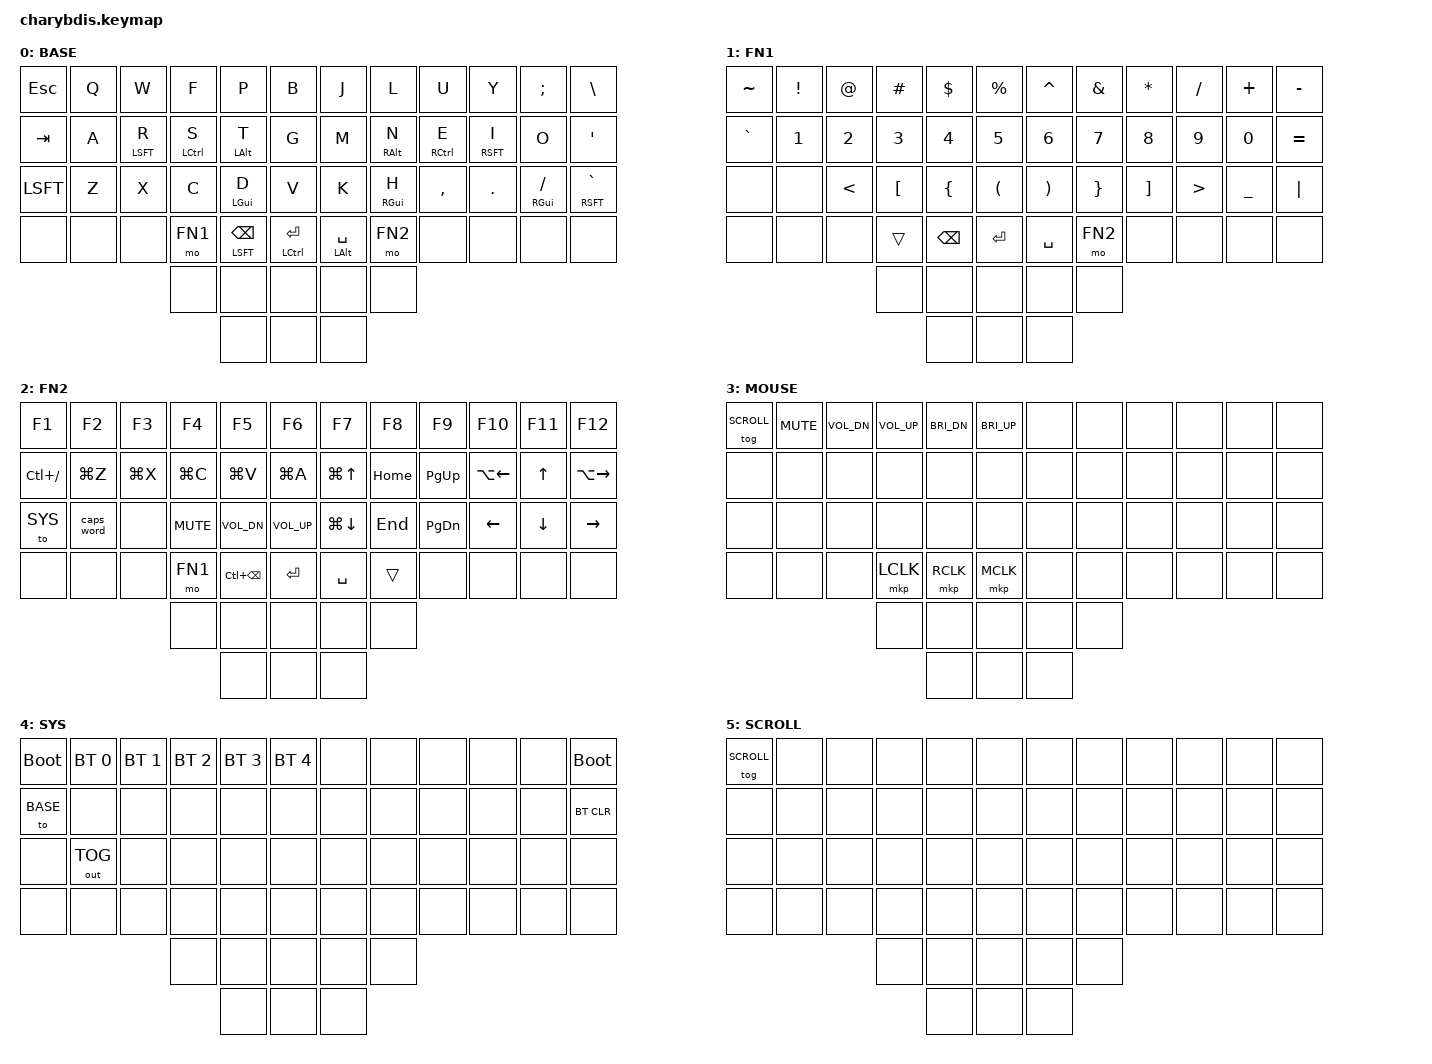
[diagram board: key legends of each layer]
#include <behaviors.dtsi>
#include <dt-bindings/zmk/bt.h>
#include <dt-bindings/zmk/keys.h>
#include <dt-bindings/zmk/mouse.h>
#include <dt-bindings/zmk/outputs.h>

// 4x6 PCB but 3x6 physical (no number row switches)
// Physical rows map to matrix rows 0,1,2. Row 3 = unused. Row 4 = thumbs.
// Key positions:
//  0  1  2  3  4  5        6  7  8  9 10 11    ← physical top row
// 12 13 14 15 16 17       18 19 20 21 22 23    ← physical home row
// 24 25 26 27 28 29       30 31 32 33 34 35    ← physical bottom row
// 36 37 38 39 40 41       42 43 44 45 46 47    ← no switches (row 3)
//             48 49 50    51 52                 ← thumbs
//                53 54    55

#define KEYS_L 0 1 2 3 4 5 12 13 14 15 16 17 24 25 26 27 28 29
#define KEYS_R 6 7 8 9 10 11 18 19 20 21 22 23 30 31 32 33 34 35
#define THUMBS 48 49 50 51 52 53 54 55

#define BASE   0
#define FN1    1
#define FN2    2
#define MOUSE  3
#define SYS    4
#define SCROLL 5

/ {
    behaviors {
        hml: homerow_left {
            compatible = "zmk,behavior-hold-tap";
            #binding-cells = <2>;
            flavor = "balanced";
            tapping-term-ms = <280>;
            quick-tap-ms = <175>;
            require-prior-idle-ms = <500>;
            bindings = <&kp>, <&kp>;
            hold-trigger-key-positions = <KEYS_R THUMBS>;
            hold-trigger-on-release;
        };

        hmr: homerow_right {
            compatible = "zmk,behavior-hold-tap";
            #binding-cells = <2>;
            flavor = "balanced";
            tapping-term-ms = <280>;
            quick-tap-ms = <175>;
            require-prior-idle-ms = <500>;
            bindings = <&kp>, <&kp>;
            hold-trigger-key-positions = <KEYS_L THUMBS>;
            hold-trigger-on-release;
        };
    };

    combos {
        compatible = "zmk,combos";
        // Combos on physical top row (matrix row 0) and bottom row (matrix row 2)
        combo_esc      { timeout-ms = <45>; key-positions = <1  2>;  bindings = <&kp ESC>;      layers = <BASE>; };
        combo_tab      { timeout-ms = <45>; key-positions = <1  13>; bindings = <&kp TAB>;      layers = <BASE>; };
        combo_parens   { timeout-ms = <45>; key-positions = <2  3>;  bindings = <&m_parens>;    layers = <BASE>; };
        combo_braces   { timeout-ms = <45>; key-positions = <3  4>;  bindings = <&m_braces>;    layers = <BASE>; };
        combo_brackets { timeout-ms = <45>; key-positions = <8  9>;  bindings = <&m_brackets>;  layers = <BASE>; };
        combo_angles   { timeout-ms = <45>; key-positions = <7  8>;  bindings = <&m_angles>;    layers = <BASE>; };
        combo_neq      { timeout-ms = <45>; key-positions = <26 27>; bindings = <&m_neq>;       layers = <BASE>; };
        combo_eq       { timeout-ms = <45>; key-positions = <27 28>; bindings = <&m_eq>;        layers = <BASE>; };
        combo_arrow    { timeout-ms = <45>; key-positions = <28 29>; bindings = <&m_arrow>;     layers = <BASE>; };
        combo_walrus   { timeout-ms = <45>; key-positions = <30 31>; bindings = <&m_walrus>;    layers = <BASE>; };
        combo_dslash   { timeout-ms = <60>; key-positions = <21 22>; bindings = <&m_dslash>;    layers = <BASE>; };
        combo_pipe     { timeout-ms = <45>; key-positions = <9  10>; bindings = <&kp PIPE>;     layers = <BASE>; };
        combo_dquot    { timeout-ms = <45>; key-positions = <25 26>; bindings = <&m_dquot>;     layers = <BASE>; };
        combo_capsword { timeout-ms = <45>; key-positions = <17 18>; bindings = <&caps_word>;   layers = <BASE>; };
    };

    macros {
        m_parens:   m_parens   { compatible = "zmk,behavior-macro"; #binding-cells = <0>; bindings = <&kp LPAR  &kp RPAR  &kp LEFT>; };
        m_braces:   m_braces   { compatible = "zmk,behavior-macro"; #binding-cells = <0>; bindings = <&kp LBRC  &kp RBRC  &kp LEFT>; };
        m_brackets: m_brackets { compatible = "zmk,behavior-macro"; #binding-cells = <0>; bindings = <&kp LBKT  &kp RBKT  &kp LEFT>; };
        m_angles:   m_angles   { compatible = "zmk,behavior-macro"; #binding-cells = <0>; bindings = <&kp LT    &kp GT    &kp LEFT>; };
        m_neq:      m_neq      { compatible = "zmk,behavior-macro"; #binding-cells = <0>; bindings = <&kp EXCL  &kp EQUAL>;           };
        m_eq:       m_eq       { compatible = "zmk,behavior-macro"; #binding-cells = <0>; bindings = <&kp EQUAL &kp EQUAL>;           };
        m_arrow:    m_arrow    { compatible = "zmk,behavior-macro"; #binding-cells = <0>; bindings = <&kp MINUS &kp GT>;              };
        m_walrus:   m_walrus   { compatible = "zmk,behavior-macro"; #binding-cells = <0>; bindings = <&kp COLON &kp EQUAL>;           };
        m_dslash:   m_dslash   { compatible = "zmk,behavior-macro"; #binding-cells = <0>; bindings = <&kp FSLH  &kp FSLH>;            };
        m_dquot:    m_dquot    { compatible = "zmk,behavior-macro"; #binding-cells = <0>; bindings = <&kp DQT   &kp DQT   &kp LEFT>; };
    };

    keymap {
        compatible = "zmk,keymap";

        // ── Layer 0: Base (Colemak-DH) ──────────────────────────────
        BASE {
            bindings = <
// Row 0: Top alpha (physical first row)
    &kp ESC  &kp Q    &kp W    &kp F    &kp P    &kp B        &kp J    &kp L    &kp U    &kp Y    &kp SEMI &kp BSLH
// Row 1: Home row with HRM (physical second row)
    &kp TAB  &kp A  &hml LSFT R &hml LCTL S &hml LALT T &kp G  &kp M &hmr RALT N &hmr RCTL E &hmr RSFT I &kp O &kp SQT
// Row 2: Bottom (physical third row)
    &kp LSFT &kp Z    &kp X    &kp C  &hml LGUI D &kp V      &kp K  &hmr RGUI H &kp COMMA &kp DOT &hmr RGUI FSLH &mt RSFT GRAVE
// Row 3: Thumbs are wired here (positions 39-41 left, 42-43 right)
    &none    &none    &none    &mo FN1  &mt LSFT BSPC &mt LCTL RET   &mt LALT SPC &mo FN2  &none    &none    &none    &none
// Thumbs (row 4) — not wired on V&Z 3x6
                               &none    &none     &none        &none    &none
                                        &none     &none        &none
            >;
        };

        // ── Layer 1: Fn1 — Symbols & Numbers ────────────────────────
        FN1 {
            bindings = <
    &kp TILDE &kp EXCL &kp AT   &kp HASH &kp DLLR &kp PRCNT   &kp CARET &kp AMPS &kp ASTRK &kp FSLH &kp PLUS &kp MINUS
    &kp GRAVE &kp N1   &kp N2   &kp N3   &kp N4   &kp N5       &kp N6   &kp N7   &kp N8   &kp N9   &kp N0   &kp EQUAL
    &none     &none    &kp LT   &kp LBKT &kp LBRC &kp LPAR     &kp RPAR &kp RBRC &kp RBKT &kp GT   &kp UNDER &kp PIPE
    &none     &none    &none    &trans   &kp BSPC &kp RET      &kp SPC  &mo FN2  &none    &none    &none    &none
                                &none    &none     &none        &none    &none
                                         &none     &none        &none
            >;
        };

        // ── Layer 2: Fn2 — Nav & Media ──────────────────────────────
        FN2 {
            bindings = <
    &kp F1       &kp F2    &kp F3    &kp F4     &kp F5       &kp F6         &kp F7      &kp F8   &kp F9    &kp F10      &kp F11 &kp F12
    &kp LC(FSLH) &kp LG(Z) &kp LG(X) &kp LG(C) &kp LG(V)    &kp LG(A)      &kp LG(UP)  &kp HOME &kp PG_UP &kp LA(LEFT) &kp UP  &kp LA(RIGHT)
    &to SYS      &caps_word &none    &kp C_MUTE &kp C_VOL_DN &kp C_VOL_UP   &kp LG(DOWN) &kp END &kp PG_DN &kp LEFT     &kp DOWN &kp RIGHT
    &none        &none     &none    &mo FN1    &kp LC(BSPC) &kp RET        &kp SPC      &trans   &none     &none        &none   &none
                                    &none      &none         &none          &none        &none
                                               &none         &none          &none
            >;
        };

        // ── Layer 3: Mouse (automouse — blocks typing, left hand has clicks + media)
        MOUSE {
            bindings = <
    &tog SCROLL &kp C_MUTE &kp C_VOL_DN &kp C_VOL_UP &kp C_BRI_DN &kp C_BRI_UP  &none &none &none &none &none &none
    &none  &none      &none        &none         &none        &none          &none &none &none &none &none &none
    &none  &none      &none        &none         &none        &none          &none &none &none &none &none &none
    &none  &none      &none        &mkp LCLK     &mkp RCLK    &mkp MCLK      &none &none &none &none &none &none
                                   &none         &none        &none          &none &none
                                                 &none        &none          &none
            >;
        };

        // ── Layer 4: System ─────────────────────────────────────────
        SYS {
            bindings = <
    &bootloader  &bt BT_SEL 0 &bt BT_SEL 1 &bt BT_SEL 2 &bt BT_SEL 3 &bt BT_SEL 4  &none &none &none &none &none &bootloader
    &to BASE     &none        &none        &none        &none        &none          &none &none &none &none &none &bt BT_CLR
    &none        &out OUT_TOG &none        &none        &none        &none          &none &none &none &none &none &none
    &none        &none        &none        &none        &none        &none          &none &none &none &none &none &none
                                           &none        &none        &none          &none &none
                                                        &none        &none          &none
            >;
        };
        // ── Layer 5: Scroll lock (activates scroll mode on trackball)
        SCROLL {
            bindings = <
    &tog SCROLL &none &none &none &none &none    &none &none &none &none &none &none
    &none  &none &none &none &none &none    &none &none &none &none &none &none
    &none  &none &none &none &none &none    &none &none &none &none &none &none
    &none  &none &none &none &none &none    &none &none &none &none &none &none
                       &none &none &none    &none &none
                             &none &none    &none
            >;
        };
    };
};
